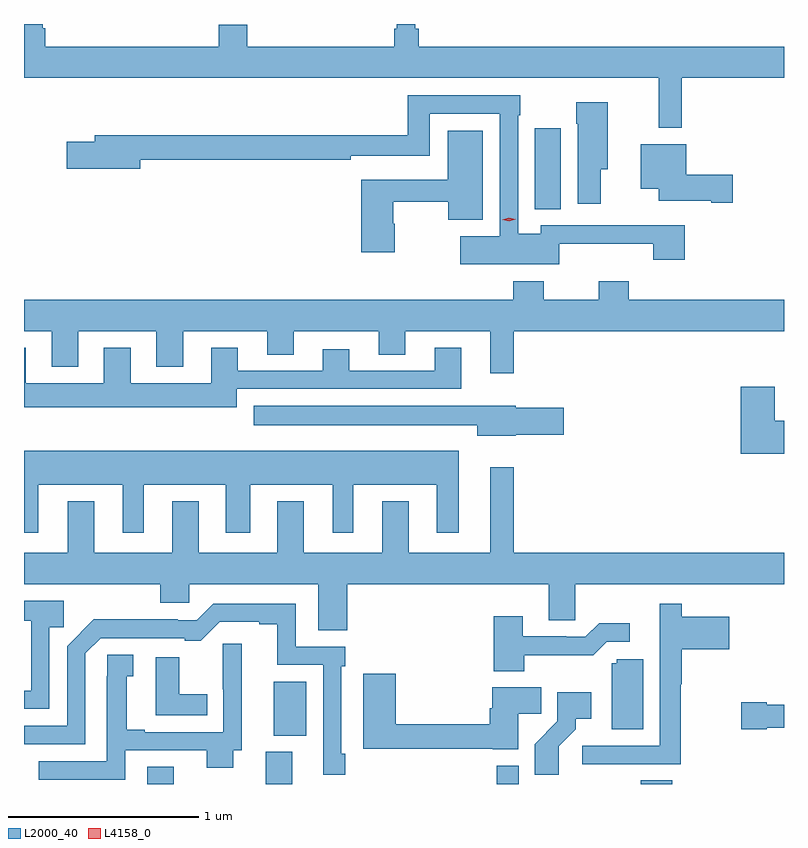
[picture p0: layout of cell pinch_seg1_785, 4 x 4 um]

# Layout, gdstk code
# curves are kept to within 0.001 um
import gdstk
lib = gdstk.Library(unit=1e-6, precision=1e-09)
def R(c, l, rs):  # rectangles x0, y0, x1, y1
    for r in rs: c.add(gdstk.rectangle(r[:2], r[2:], *l))
def P(c, l, *ps):  # polygons
    for p in ps: c.add(gdstk.Polygon(p, *l))
L2000_40 = (2000, 40)
L4158_0 = (4158, 0)

pinch_seg1_785 = lib.new_cell('pinch_seg1_785')
R(pinch_seg1_785, L2000_40, [(374.219,577.32,374.359,577.412), (374.843,577.32,374.983,577.489), (376.057,577.32,376.173,577.417), (376.817,577.32,376.982,577.34), (374.885,577.574,375.055,577.858), (376.259,580.345,376.396,580.771)])
P(pinch_seg1_785, L2000_40, [(377.033,581.036),(377.57,581.036),(377.57,581.2),(375.647,581.2),(375.647,581.296),(375.628,581.296),(375.628,581.32),(375.531,581.32),(375.531,581.296),(375.518,581.296),(375.518,581.2),(374.746,581.2),(374.746,581.317),(374.594,581.317),(374.594,581.2),(373.682,581.2),(373.682,581.298),(373.669,581.298),(373.669,581.32),(373.57,581.32),(373.57,581.036),(376.912,581.036),(376.912,580.773),(377.033,580.773)],
  [(376.386,580.163),(376.883,580.163),(376.883,580.08),(377.048,580.08),(377.048,580.261),(376.799,580.261),(376.799,580.26),(376.29,580.26),(376.29,580.216),(376.17,580.216),(376.17,580.841),(376.183,580.841),(376.183,580.944),(375.589,580.944),(375.589,580.735),(373.943,580.735),(373.943,580.701),(373.794,580.701),(373.794,580.559),(374.182,580.559),(374.182,580.606),(375.29,580.606),(375.29,580.626),(375.705,580.626),(375.705,580.848),(376.074,580.848),(376.074,580.204),(375.867,580.204),(375.867,580.055),(376.386,580.055)],
  [(376.606,580.556),(376.642,580.556),(376.642,580.909),(376.477,580.909),(376.477,580.796),(376.484,580.796),(376.484,580.374),(376.606,580.374)],
  [(375.522,580.269),(375.514,580.269),(375.514,580.384),(375.804,580.384),(375.804,580.289),(375.985,580.289),(375.985,580.759),(375.8,580.759),(375.8,580.5),(375.344,580.5),(375.344,580.119),(375.522,580.119)],
  [(377.299,580.526),(377.056,580.526),(377.056,580.687),(376.817,580.687),(376.817,580.454),(376.91,580.454),(376.91,580.391),(377.186,580.391),(377.186,580.379),(377.299,580.379)],
  [(376.147,579.704),(377.57,579.704),(377.57,579.868),(376.754,579.868),(376.754,579.967),(376.594,579.967),(376.594,579.868),(376.305,579.868),(376.305,579.967),(376.145,579.967),(376.145,579.868),(373.57,579.868),(373.57,579.704),(373.715,579.704),(373.715,579.515),(373.855,579.515),(373.855,579.704),(374.267,579.704),(374.267,579.515),(374.407,579.515),(374.407,579.704),(374.849,579.704),(374.849,579.58),(374.989,579.58),(374.989,579.704),(375.437,579.704),(375.437,579.58),(375.577,579.58),(375.577,579.704),(376.025,579.704),(376.025,579.483),(376.147,579.483)],
  [(374.689,579.399),(375.871,579.399),(375.871,579.616),(375.731,579.616),(375.731,579.495),(375.283,579.495),(375.283,579.607),(375.143,579.607),(375.143,579.495),(374.695,579.495),(374.695,579.616),(374.555,579.616),(374.555,579.43),(374.131,579.43),(374.131,579.616),(373.991,579.616),(373.991,579.43),(373.579,579.43),(373.579,579.616),(373.57,579.616),(373.57,579.302),(374.689,579.302)],
  [(377.57,579.232),(377.52,579.232),(377.52,579.412),(377.342,579.412),(377.342,579.059),(377.57,579.059)],
  [(376.158,579.158),(376.411,579.158),(376.411,579.3),(376.158,579.3),(376.158,579.31),(374.778,579.31),(374.778,579.209),(375.956,579.209),(375.956,579.152),(376.158,579.152)],
  [(373.645,578.894),(374.09,578.894),(374.09,578.643),(374.2,578.643),(374.2,578.894),(374.633,578.894),(374.633,578.643),(374.761,578.643),(374.761,578.894),(375.194,578.894),(375.194,578.643),(375.304,578.643),(375.304,578.894),(375.743,578.894),(375.743,578.643),(375.859,578.643),(375.859,579.073),(373.57,579.073),(373.57,578.643),(373.645,578.643)],
  [(375.272,578.372),(376.331,578.372),(376.331,578.182),(376.47,578.182),(376.47,578.372),(377.57,578.372),(377.57,578.536),(376.147,578.536),(376.147,578.986),(376.025,578.986),(376.025,578.536),(375.595,578.536),(375.595,578.809),(375.455,578.809),(375.455,578.536),(375.043,578.536),(375.043,578.809),(374.903,578.809),(374.903,578.536),(374.491,578.536),(374.491,578.809),(374.351,578.809),(374.351,578.536),(373.939,578.536),(373.939,578.809),(373.799,578.809),(373.799,578.536),(373.57,578.536),(373.57,578.372),(374.288,578.372),(374.288,578.274),(374.439,578.274),(374.439,578.372),(375.119,578.372),(375.119,578.128),(375.272,578.128)],
  [(373.704,578.146),(373.778,578.146),(373.778,578.284),(373.57,578.284),(373.57,578.178),(373.608,578.178),(373.608,577.812),(373.57,577.812),(373.57,577.716),(373.704,577.716)],
  [(376.733,577.425),(377.026,577.425),(377.026,577.846),(377.033,577.846),(377.033,578.03),(377.281,578.03),(377.281,578.2),(377.033,578.2),(377.033,578.269),(376.916,578.269),(376.916,578.046),(376.917,578.046),(376.917,577.521),(376.509,577.521),(376.509,577.423),(376.733,577.423)],
  [(375.26,577.48),(375.24,577.48),(375.24,577.94),(375.26,577.94),(375.26,578.043),(375,578.043),(375,578.268),(374.565,578.268),(374.478,578.181),(374.378,578.181),(374.378,578.186),(373.938,578.186),(373.797,578.044),(373.797,577.626),(373.57,577.626),(373.57,577.53),(373.893,577.53),(373.893,578.007),(373.974,578.088),(374.417,578.088),(374.417,578.073),(374.499,578.073),(374.6,578.174),(374.807,578.174),(374.807,578.16),(374.903,578.16),(374.903,577.947),(375.144,577.947),(375.144,577.368),(375.26,577.368)],
  [(376.203,577.998),(376.565,577.997),(376.638,578.07),(376.759,578.07),(376.759,578.167),(376.597,578.167),(376.524,578.094),(376.424,578.094),(376.424,578.097),(376.195,578.097),(376.195,578.203),(376.043,578.203),(376.043,577.913),(376.203,577.913)],
  [(374.103,577.497),(374.531,577.497),(374.531,577.406),(374.671,577.406),(374.671,577.497),(374.716,577.497),(374.716,578.059),(374.617,578.059),(374.617,577.818),(374.619,577.818),(374.619,577.593),(374.206,577.593),(374.206,577.606),(374.11,577.606),(374.11,577.886),(374.146,577.886),(374.146,577.999),(374.008,577.999),(374.008,577.886),(374.006,577.886),(374.006,577.44),(373.647,577.44),(373.647,577.343),(374.103,577.343)],
  [(374.534,577.792),(374.386,577.792),(374.386,577.987),(374.264,577.987),(374.264,577.683),(374.534,577.683)],
  [(376.828,577.977),(376.689,577.977),(376.689,577.956),(376.664,577.956),(376.664,577.608),(376.828,577.608)],
  [(376.171,577.69),(376.292,577.69),(376.292,577.828),(376.034,577.828),(376.034,577.718),(376.022,577.718),(376.022,577.634),(375.527,577.634),(375.527,577.9),(375.356,577.9),(375.356,577.506),(376.038,577.506),(376.038,577.502),(376.171,577.502)],
  [(376.384,577.519),(376.474,577.609),(376.474,577.664),(376.555,577.664),(376.555,577.804),(376.377,577.804),(376.377,577.649),(376.258,577.53),(376.258,577.368),(376.384,577.368)],
  [(377.478,577.616),(377.57,577.616),(377.57,577.738),(377.478,577.738),(377.478,577.751),(377.346,577.751),(377.346,577.609),(377.478,577.609)])
P(pinch_seg1_785, L4158_0, [(376.123,580.281),(376.088,580.29),(376.088,580.29),(376.088,580.29),(376.122,580.301),(376.158,580.293),(376.158,580.293),(376.158,580.292)])

lib.write_gds('pinch_seg1_785.gds')
